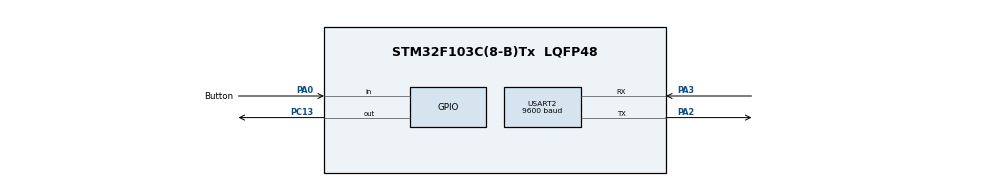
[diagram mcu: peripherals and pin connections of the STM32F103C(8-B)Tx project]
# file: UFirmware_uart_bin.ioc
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Dma.Request0=USART2_RX
Dma.USART2_RX.0.Direction=DMA_PERIPH_TO_MEMORY
Dma.USART2_RX.0.Instance=DMA1_Channel6
Dma.USART2_RX.0.MemDataAlignment=DMA_MDATAALIGN_BYTE
Dma.USART2_RX.0.MemInc=DMA_MINC_ENABLE
Dma.USART2_RX.0.Mode=DMA_CIRCULAR
Dma.USART2_RX.0.PeriphDataAlignment=DMA_PDATAALIGN_BYTE
Dma.USART2_RX.0.PeriphInc=DMA_PINC_DISABLE
Dma.USART2_RX.0.Priority=DMA_PRIORITY_LOW
Mcu.Family=STM32F1
Mcu.Name=STM32F103C(8-B)Tx
Mcu.Package=LQFP48
NVIC.DMA1_Channel6_IRQn=true\:0\:0\:false\:false\:true\:false\:true\:true
NVIC.PriorityGroup=NVIC_PRIORITYGROUP_4
NVIC.USART2_IRQn=true\:0\:0\:false\:false\:true\:true\:true\:true
PA0-WKUP.GPIO_Label=Button
PA0-WKUP.GPIO_PuPd=GPIO_PULLUP
PA0-WKUP.Signal=GPIO_Input
PA13.Mode=Serial_Wire
PA13.Signal=SYS_JTMS-SWDIO
PA14.Mode=Serial_Wire
PA14.Signal=SYS_JTCK-SWCLK
PA2.Mode=Asynchronous
PA2.Signal=USART2_TX
PA3.Mode=Asynchronous
PA3.Signal=USART2_RX
PC13-TAMPER-RTC.Signal=GPIO_Output
PD0-OSC_IN.Mode=HSE-External-Oscillator
PD0-OSC_IN.Signal=RCC_OSC_IN
PD1-OSC_OUT.Mode=HSE-External-Oscillator
PD1-OSC_OUT.Signal=RCC_OSC_OUT
ProjectManager.HeapSize=0x200
ProjectManager.StackSize=0x400
ProjectManager.TargetToolchain=CMake
RCC.APB1Freq_Value=8000000
RCC.APB2Freq_Value=8000000
USART2.BaudRate=9600
USART2.VirtualMode=VM_ASYNC
board=custom

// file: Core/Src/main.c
/* USER CODE BEGIN Header */
/**
 ******************************************************************************
 * @file           : main.c
 * @brief          : Main program body
 ******************************************************************************
 * @attention
 *
 * Copyright (c) 2025 STMicroelectronics.
 * All rights reserved.
 *
 * This software is licensed under terms that can be found in the LICENSE file
 * in the root directory of this software component.
 * If no LICENSE file comes with this software, it is provided AS-IS.
 *
 ******************************************************************************
 */
/* USER CODE END Header */
#include "main.h"

/* USER CODE BEGIN Includes */
#include <string.h>
/* USER CODE END Includes */

UART_HandleTypeDef huart2;
DMA_HandleTypeDef hdma_usart2_rx;

void SystemClock_Config(void);
static void MX_GPIO_Init(void);
static void MX_DMA_Init(void);
static void MX_USART2_UART_Init(void);
/* USER CODE BEGIN PFP */
int _write(int fd, char *ptr, int len) {
	HAL_StatusTypeDef hstatus;

	if (fd == 1 || fd == 2) {
		hstatus = HAL_UART_Transmit(&huart2, (uint8_t*) ptr, len,HAL_MAX_DELAY);
		if (hstatus == HAL_OK)
			return len;
		else
			return -1;
	}
	return -1;
}
/* USER CODE END PFP */

/* USER CODE BEGIN 0 */
#define RX_BUFFER_SIZE 64 // Kích thước bộ đệm
uint8_t rx_buffer[RX_BUFFER_SIZE]; // Bộ đệm lưu dữ liệu binary
volatile uint8_t rx_complete = 0; // Cờ báo nhận xong
uint8_t firmware_data[5120];
uint32_t total_data_rx = 0;

void Write_Flash(uint32_t Address, uint32_t *Data, uint32_t Size) {
    HAL_FLASH_Unlock();
    FLASH_EraseInitTypeDef EraseInitStruct;
    uint32_t SectorError;

    EraseInitStruct.TypeErase = FLASH_TYPEERASE_PAGES; // Xóa theo page (STM32F1 dùng "page" thay vì "sector")
    EraseInitStruct.PageAddress = Address; // Địa chỉ bắt đầu của sector (Sector 32)
    EraseInitStruct.NbPages = 5; // Số page cần xóa (1 page = 1KB)

    if (HAL_FLASHEx_Erase(&EraseInitStruct, &SectorError) != HAL_OK) {
        // Xử lý lỗi
        HAL_FLASH_Lock();
        return;
    }
    for (uint32_t i = 0; i < Size; i++) {
        if (HAL_FLASH_Program(FLASH_TYPEPROGRAM_WORD, Address + i * 4, Data[i]) != HAL_OK) {
            // Xử lý lỗi ghi
            HAL_FLASH_Lock();
            return;
        }
    }

    HAL_FLASH_Lock();
}
#define ADDR_APP_PROGRAM 0x8008000
typedef void (*pFunction)(void);

void enter_to_app(){
  HAL_RCC_DeInit();
  HAL_DeInit();
  //SCB->VTOR = 0x8008000;
  SCB->SHCSR &= ~(SCB_SHCSR_BUSFAULTENA_Msk |
                  SCB_SHCSR_USGFAULTENA_Msk |
                  SCB_SHCSR_MEMFAULTENA_Msk );
  __set_MSP(*(__IO uint32_t*)ADDR_APP_PROGRAM);
  pFunction app_entry = (pFunction) (*(__IO uint32_t*) (ADDR_APP_PROGRAM + 4));
  app_entry();
}

uint8_t trigger_flag = 0;
uint8_t cnt =0;
void HAL_UARTEx_RxEventCallback(UART_HandleTypeDef *huart, uint16_t Size){
  total_data_rx = Size;
  HAL_UARTEx_ReceiveToIdle_IT(&huart2,firmware_data,total_data_rx);
  Write_Flash(0x8008000, (uint32_t *)firmware_data, total_data_rx/4) ;
  //if(total_data_rx = 4724){
  trigger_flag = 1;
}
/* USER CODE END 0 */

int main(void)
{

  /* MCU Configuration--------------------------------------------------------*/

  /* Reset of all peripherals, Initializes the Flash interface and the Systick. */
  HAL_Init();

  /* Configure the system clock */
  SystemClock_Config();

  /* Initialize all configured peripherals */
  MX_GPIO_Init();
  MX_DMA_Init();
  MX_USART2_UART_Init();
  /* USER CODE BEGIN 2 */
  //memset(firmware_data,0,sizeof(firmware_data));
  HAL_UARTEx_ReceiveToIdle_IT(&huart2,firmware_data,5120);
  /* USER CODE END 2 */

  /* Infinite loop */
  /* USER CODE BEGIN WHILE */
  uint32_t now = 0; uint32_t next_tick = 1000;
  while (1)
  {
    if(trigger_flag){

      // HAL_GPIO_TogglePin(GPIOC, GPIO_PIN_13);
      // HAL_Delay(2000);
      // HAL_GPIO_TogglePin(GPIOC, GPIO_PIN_13);
      enter_to_app();
      //printf("\n\n\n-----------\nBootLoaderrr\n");
    }
    // HAL_GPIO_TogglePin(GPIOC, GPIO_PIN_13);
    // HAL_Delay(2000);
    //if(now > next_tick){
      // printf("\n\n\n-----------\nBootLoaderrr\n");
      //next_tick += 1000;
    //}
    /* USER CODE END WHILE */

  }
}

void SystemClock_Config(void)
{
  RCC_OscInitTypeDef RCC_OscInitStruct = {0};
  RCC_ClkInitTypeDef RCC_ClkInitStruct = {0};

  /** Initializes the RCC Oscillators according to the specified parameters
  * in the RCC_OscInitTypeDef structure.
  */
  RCC_OscInitStruct.OscillatorType = RCC_OSCILLATORTYPE_HSI;
  RCC_OscInitStruct.HSIState = RCC_HSI_ON;
  RCC_OscInitStruct.HSICalibrationValue = RCC_HSICALIBRATION_DEFAULT;
  RCC_OscInitStruct.PLL.PLLState = RCC_PLL_NONE;
  if (HAL_RCC_OscConfig(&RCC_OscInitStruct) != HAL_OK)
  {
    Error_Handler();
  }

  /** Initializes the CPU, AHB and APB buses clocks
  */
  RCC_ClkInitStruct.ClockType = RCC_CLOCKTYPE_HCLK|RCC_CLOCKTYPE_SYSCLK
                              |RCC_CLOCKTYPE_PCLK1|RCC_CLOCKTYPE_PCLK2;
  RCC_ClkInitStruct.SYSCLKSource = RCC_SYSCLKSOURCE_HSI;
  RCC_ClkInitStruct.AHBCLKDivider = RCC_SYSCLK_DIV1;
  RCC_ClkInitStruct.APB1CLKDivider = RCC_HCLK_DIV1;
  RCC_ClkInitStruct.APB2CLKDivider = RCC_HCLK_DIV1;

  if (HAL_RCC_ClockConfig(&RCC_ClkInitStruct, FLASH_LATENCY_0) != HAL_OK)
  {
    Error_Handler();
  }
}

static void MX_USART2_UART_Init(void)
{

  huart2.Instance = USART2;
  huart2.Init.BaudRate = 9600;
  huart2.Init.WordLength = UART_WORDLENGTH_8B;
  huart2.Init.StopBits = UART_STOPBITS_1;
  huart2.Init.Parity = UART_PARITY_NONE;
  huart2.Init.Mode = UART_MODE_TX_RX;
  huart2.Init.HwFlowCtl = UART_HWCONTROL_NONE;
  huart2.Init.OverSampling = UART_OVERSAMPLING_16;
  if (HAL_UART_Init(&huart2) != HAL_OK)
  {
    Error_Handler();
  }

}

static void MX_DMA_Init(void)
{

  /* DMA controller clock enable */
  __HAL_RCC_DMA1_CLK_ENABLE();

  /* DMA interrupt init */
  /* DMA1_Channel6_IRQn interrupt configuration */
  HAL_NVIC_SetPriority(DMA1_Channel6_IRQn, 0, 0);
  HAL_NVIC_EnableIRQ(DMA1_Channel6_IRQn);

}

static void MX_GPIO_Init(void)
{
  GPIO_InitTypeDef GPIO_InitStruct = {0};

  /* GPIO Ports Clock Enable */
  __HAL_RCC_GPIOC_CLK_ENABLE();
  __HAL_RCC_GPIOD_CLK_ENABLE();
  __HAL_RCC_GPIOA_CLK_ENABLE();

  /*Configure GPIO pin Output Level */
  HAL_GPIO_WritePin(GPIOC, GPIO_PIN_13, GPIO_PIN_RESET);

  /*Configure GPIO pin : PC13 */
  GPIO_InitStruct.Pin = GPIO_PIN_13;
  GPIO_InitStruct.Mode = GPIO_MODE_OUTPUT_PP;
  GPIO_InitStruct.Pull = GPIO_NOPULL;
  GPIO_InitStruct.Speed = GPIO_SPEED_FREQ_LOW;
  HAL_GPIO_Init(GPIOC, &GPIO_InitStruct);

  /*Configure GPIO pin : Button_Pin */
  GPIO_InitStruct.Pin = Button_Pin;
  GPIO_InitStruct.Mode = GPIO_MODE_INPUT;
  GPIO_InitStruct.Pull = GPIO_PULLUP;
  HAL_GPIO_Init(Button_GPIO_Port, &GPIO_InitStruct);

}

void Error_Handler(void)
{
  __disable_irq();
  while (1)
  {
  }
}
